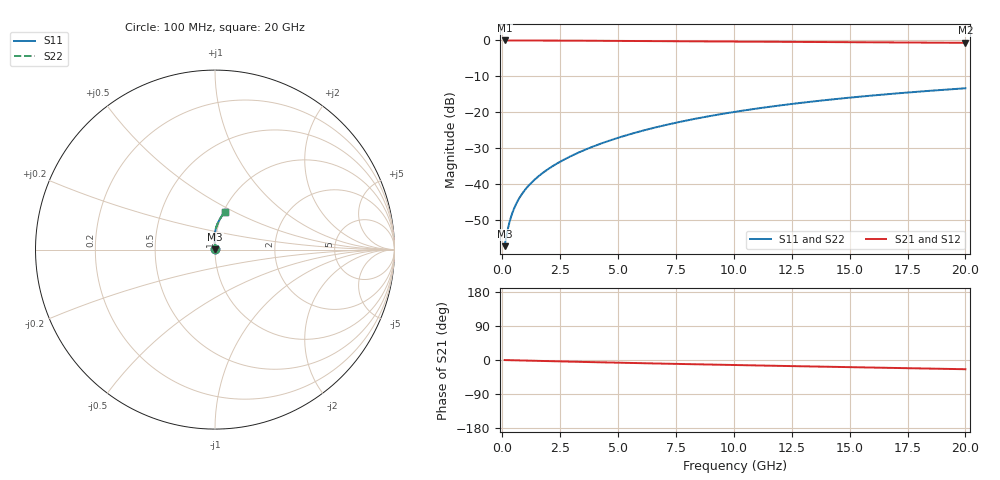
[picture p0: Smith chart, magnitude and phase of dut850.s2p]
! Touchstone file exported from HFSS 2024.1.0
!  File:  C:/UserFiles/LocalFiles/RDL_TSV_Batchsim/temp_RDL_top_850_1779855614.aedt
!  Generated:  12:22:28 PM May 27, 2026
!  Design:  RDL_top
!  Project:  temp_RDL_top_850_1779855614
!  Setup:  Setup1
!  Solution:  Sweep
! Variables:
!  dtsv = 10.80580581um
!  hbump = 3um
!  htsv = 90.55um
!  ldown = 100um
!  lrdl = 339.69um
!  p = 40
!  p1 = 55.11um
!  rhole = 1um
!  t = 450um
!  tdown = 3.915915916um
!  trdl = 4.93um
!  wdown = 15.38538539um
!  wrdl = 28.84um
# GHz S MA R 50.000000
! Terminal data exported
! Port[1] = Box2_T1
! Port[2] = Box2_T2
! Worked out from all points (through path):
!   200 points, 100 MHz to 20 GHz, reference 50 ohm
!   highest |S21| = -0.01 dB at 100 MHz (marker M1); lowest = -0.7 dB at 20 GHz (marker M2)
!   group delay of S21, straight-line fit = 3.32 ps
!   lowest |S11| = -57.2 dB at 100 MHz (marker M3), VSWR 1.00, Z = 50.1 + j0.0915 ohm
!   |S11| at or under -10 dB: start of sweep to end of sweep
!   |S22| runs from -57.2 to -13.3 dB; largest |S21 - S12| = 6.3e-15
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0.1  0.001384 41.3  0.9989 -0.2  0.9989 -0.2  0.001384 41.3
! Gamma 0 0 0 0
! Port Impedance 50 0 50 0
0.2  0.002096 60.1  0.9988 -0.3  0.9988 -0.3  0.002096 60.1
0.3  0.002903 68.7  0.9987 -0.5  0.9987 -0.5  0.002903 68.7
0.4  0.003729 73.4  0.9986 -0.6  0.9986 -0.6  0.003728 73.4
0.5  0.004552 76.3  0.9985 -0.8  0.9985 -0.8  0.004551 76.4
0.7  0.006167 79.8  0.9983 -1.1  0.9983 -1.1  0.006166 79.8
0.8  0.00696 81.0  0.9982 -1.2  0.9982 -1.2  0.006959 81.0
1  0.008529 82.8  0.9979 -1.5  0.9979 -1.5  0.008529 82.8
1.4  0.01165 85.5  0.9973 -2.1  0.9973 -2.1  0.01165 85.5
1.7  0.01403 87.0  0.9966 -2.5  0.9966 -2.5  0.01403 87.0
2  0.01646 88.2  0.9959 -3.0  0.9959 -3.0  0.01646 88.2
2.7  0.02236 90.5  0.9939 -4.0  0.9939 -4.0  0.02236 90.5
3.5  0.02956 92.2  0.9912 -5.1  0.9912 -5.1  0.02956 92.1
4.2  0.03626 93.0  0.9884 -6.1  0.9884 -6.1  0.03626 93.0
5  0.04434 93.4  0.9851 -7.1  0.9851 -7.1  0.04434 93.4
6.8  0.06387 93.0  0.9773 -9.4  0.9773 -9.4  0.06387 93.0
8.4  0.0823 91.5  0.9704 -11.4  0.9704 -11.4  0.08228 91.5
10.1  0.1024 89.4  0.9633 -13.4  0.9633 -13.4  0.1024 89.4
11.7  0.1215 87.2  0.957 -15.2  0.957 -15.2  0.1214 87.2
13.4  0.1416 84.7  0.9505 -17.1  0.9505 -17.1  0.1416 84.7
16.7  0.1798 80.0  0.9384 -20.8  0.9384 -20.8  0.1798 80.0
20  0.2163 75.4  0.9264 -24.4  0.9264 -24.4  0.2163 75.4
